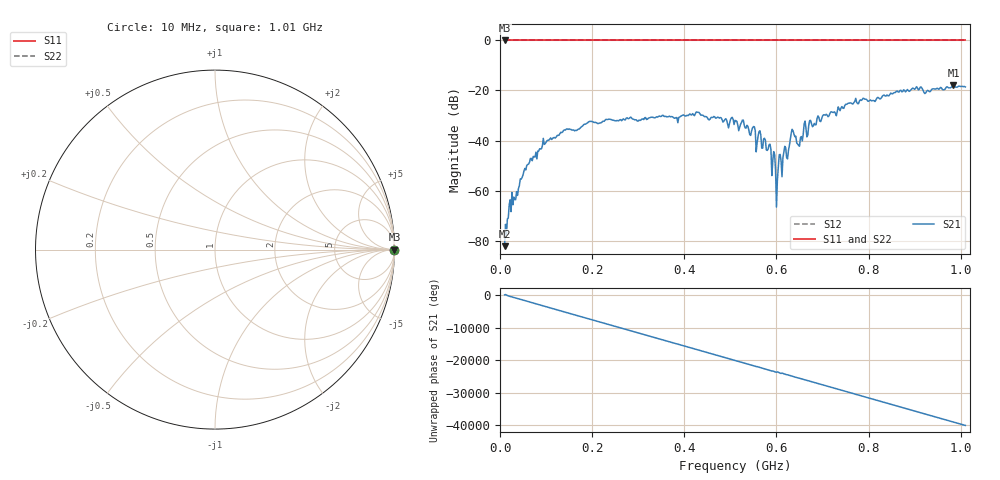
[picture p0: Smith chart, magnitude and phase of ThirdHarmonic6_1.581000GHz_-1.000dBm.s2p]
! 8/16/2025 6:49:14 PM
! C:\ANRITSUVNA\TEMP\TEMP.S2P
! CHANNEL.1
! TR.MEASUREMENT
! RAW.DATA
! RF.CORRECTION.OFF
! AVERAGING.OFF
! IF.BANDWIDTH: 5KHZ
! SWEEPTYPE:  FREQ.SWEEP(Linear)
! Reference Plane Port Info
! PORT:  PORT1  PORT2
! DISTANCE:  0  m  0  m
! TIME:  0  s  0  s
! PHASE.OFFSET:  0  deg.  0  deg.
! LOSS:  0  dB  0  dB
! REF.LOSS:  0  dB  0  dB
! REF.FREQ:  0  Hz  0  Hz
! Power Info
! POWER:  -20  dBm  -20  dBm
! EFF.POWER:  -20  dBm  -20  dBm
! SOURCE.ATTEN:  0  dB  0  dB
! TEST.ATTEN:  0  dB  0  dB
# GHZ S RI R 50.0
! FREQ.GHZ  S11RE  S11IM  S21RE  S21IM  S12RE  S12IM  S22RE  S22IM
!; PortSelection: Port_12
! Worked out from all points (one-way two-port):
!   501 points, 10 MHz to 1.01 GHz, reference 50 ohm
!   highest |S21| = -17.99 dB at 984 MHz (marker M1); lowest = -82.2 dB at 10 MHz (marker M2)
!   lowest |S11| = 0.0 dB at 10 MHz (marker M3)
!   |S11| at or under -10 dB: nowhere
!   |S22| runs from 0.0 to 0.0 dB; largest |S21 - S12| = 1.1
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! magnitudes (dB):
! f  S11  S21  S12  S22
! 10 MHz  0.0  -82.2  0.0  0.0
! 22 MHz  0.0  -63.7  0.0  0.0
! 64 MHz  0.0  -48.7  0.0  0.0
! 98 MHz  0.0  -41.3  0.0  0.0
! 178 MHz  0.0  -34.4  0.0  0.0
! 344 MHz  0.0  -30.3  0.0  0.0
! 430 MHz  0.0  -28.7  0.0  0.0
! 510 MHz  0.0  -32.0  0.0  0.0
! 550 MHz  0.0  -34.4  0.0  0.0
! 556 MHz  0.0  -44.6  0.0  0.0
! 584 MHz  0.0  -41.6  0.0  0.0
! 602 MHz  0.0  -55.6  0.0  0.0
! 606 MHz  0.0  -45.7  0.0  0.0
! 626 MHz  0.0  -44.0  0.0  0.0
! 634 MHz  0.0  -35.5  0.0  0.0
! 648 MHz  0.0  -41.9  0.0  0.0
! 660 MHz  0.0  -33.5  0.0  0.0
! 678 MHz  0.0  -34.5  0.0  0.0
! 754 MHz  0.0  -25.3  0.0  0.0
! 844 MHz  0.0  -22.1  0.0  0.0
! 984 MHz  0.0  -18.0  0.0  0.0
! 1.01 GHz  0.0  -18.6  0.0  0.0
